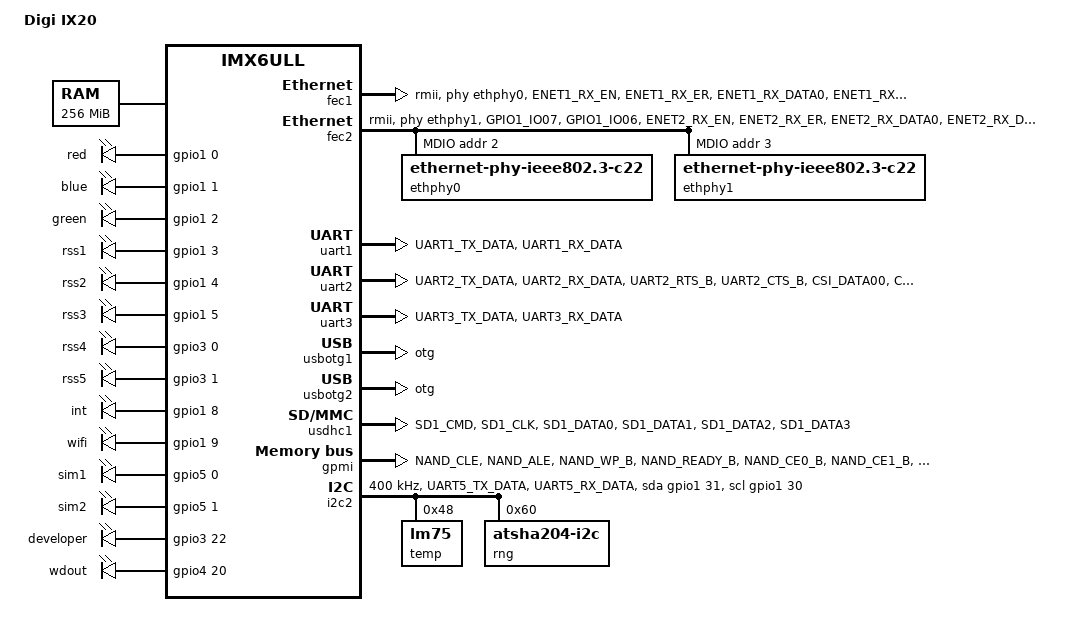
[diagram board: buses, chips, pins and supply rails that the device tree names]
/*
 * Copyright (C) 2016 Freescale Semiconductor, Inc.
 * Copyright (C) 2019 Digi International
 *
 * This program is free software; you can redistribute it and/or modify
 * it under the terms of the GNU General Public License version 2 as
 * published by the Free Software Foundation.
 */

/dts-v1/;

#include "imx6ull.dtsi"

/ {
	model = "Digi IX20";
	compatible = "digi,ix20", "fsl,imx6ull";

	chosen {
		stdout-path = &uart1;
	};

	memory {
		device_type = "memory";
		reg = <0x80000000 0x10000000>;
	};

	cpus {
		cpu0: cpu@0 {
			operating-points = <
                                /* kHz  uV */
                                900000  1275000
				792000	1225000
                                528000  1175000
                                396000  1025000
                                198000  950000
                        >;
                        fsl,soc-operating-points = <
                                /* KHz  uV */
                                900000  1275000
				792000	1175000
                                528000  1175000
                                396000  1175000
                                198000  1175000
                        >;
		};
	};

	regulators {
		compatible = "simple-bus";
		#address-cells = <1>;
		#size-cells = <0>;
	};

	leds {
		compatible = "gpio-leds";

		red-led {
			label = "red";
			pinctrl-names = "default";
			pinctrl-0 = <&pinctrl_leds>;
			gpios = <&gpio1 0 GPIO_ACTIVE_HIGH>;
			linux,default-trigger = "none";
		};

		blue-led {
			label = "blue";
			pinctrl-names = "default";
			pinctrl-0 = <&pinctrl_leds>;
			gpios = <&gpio1 1 GPIO_ACTIVE_HIGH>;
			linux,default-trigger = "none";
		};

		green-led {
			label = "green";
			pinctrl-names = "default";
			pinctrl-0 = <&pinctrl_leds>;
			gpios = <&gpio1 2 GPIO_ACTIVE_HIGH>;
			linux,default-trigger = "none";
		};

		rss1-led {
			label = "rss1";
			pinctrl-names = "default";
			pinctrl-0 = <&pinctrl_leds>;
			gpios = <&gpio1 3 GPIO_ACTIVE_HIGH>;
			linux,default-trigger = "none";
		};

		rss2-led {
			label = "rss2";
			pinctrl-names = "default";
			pinctrl-0 = <&pinctrl_leds>;
			gpios = <&gpio1 4 GPIO_ACTIVE_HIGH>;
			linux,default-trigger = "none";
		};

		rss3-led {
			label = "rss3";
			pinctrl-names = "default";
			pinctrl-0 = <&pinctrl_leds>;
			gpios = <&gpio1 5 GPIO_ACTIVE_HIGH>;
			linux,default-trigger = "none";
		};

		rss4-led {
			label = "rss4";
			pinctrl-names = "default";
			pinctrl-0 = <&pinctrl_leds>;
			gpios = <&gpio3 0 GPIO_ACTIVE_HIGH>;
			linux,default-trigger = "none";
		};

		rss5-led {
			label = "rss5";
			pinctrl-names = "default";
			pinctrl-0 = <&pinctrl_leds>;
			gpios = <&gpio3 1 GPIO_ACTIVE_HIGH>;
			linux,default-trigger = "none";
		};

		int-led {
			label = "int";
			pinctrl-names = "default";
			pinctrl-0 = <&pinctrl_leds>;
			gpios = <&gpio1 8 GPIO_ACTIVE_HIGH>;
			linux,default-trigger = "none";
		};

		wifi-led {
			label = "wifi";
			pinctrl-names = "default";
			pinctrl-0 = <&pinctrl_leds>;
			gpios = <&gpio1 9 GPIO_ACTIVE_HIGH>;
			linux,default-trigger = "none";
		};

		sim1-led {
			label = "sim1";
			pinctrl-names = "default";
			pinctrl-0 = <&pinctrl_leds>;
			gpios = <&gpio5 0 GPIO_ACTIVE_HIGH>;
			linux,default-trigger = "none";
		};

		sim2-led {
			label = "sim2";
			pinctrl-names = "default";
			pinctrl-0 = <&pinctrl_leds>;
			gpios = <&gpio5 1 GPIO_ACTIVE_HIGH>;
			linux,default-trigger = "none";
		};
	};

	devkey {
		compatible = "gpio-leds";

		dev-gpio {
			label = "developer";
			pinctrl-names = "default";
			pinctrl-0 = <&pinctrl_devkey>;
			gpios = <&gpio3 22 GPIO_ACTIVE_HIGH>;
			linux,default-trigger = "none";
		};
	};

	watchdog {
		compatible = "gpio-leds";

		wdout-gpio {
			label = "wdout";
			pinctrl-names = "default";
			pinctrl-0 = <&pinctrl_wdout>;
			gpios = <&gpio4 20 GPIO_ACTIVE_HIGH>;
		};
	};
};

&cpu0 {
	arm-supply = <&reg_arm>;
	soc-supply = <&reg_soc>;
};

&fec1 {
	pinctrl-names = "default";
	pinctrl-0 = <&pinctrl_enet1>;
	phy-mode = "rmii";
	phy-handle = <&ethphy0>;
	status = "okay";
};

&fec2 {
	pinctrl-names = "default";
	pinctrl-0 = <&pinctrl_enet2>;
	phy-mode = "rmii";
	phy-handle = <&ethphy1>;
	status = "okay";

	mdio {
		#address-cells = <1>;
		#size-cells = <0>;

		ethphy0: ethernet-phy@2 {
			compatible = "ethernet-phy-ieee802.3-c22";
			reg = <2>;
		};

		ethphy1: ethernet-phy@3 {
			compatible = "ethernet-phy-ieee802.3-c22";
			reg = <3>;
		};
	};
};

&uart1 {
	pinctrl-names = "default";
	pinctrl-0 = <&pinctrl_uart1>;
	status = "okay";
};

&uart2 {
	pinctrl-names = "default";
	pinctrl-0 = <&pinctrl_uart2>;
	uart-has-rtscts;
	dtr-gpios = <&gpio4 26 GPIO_ACTIVE_LOW>;
	dcd-gpios = <&gpio4 25 GPIO_ACTIVE_LOW>;
	status = "okay";
};

&uart3 {
	pinctrl-names = "default";
	pinctrl-0 = <&pinctrl_uart3>;
	uart-has-rtscts;
	status = "okay";
};

&usbotg1 {
	dr_mode = "otg";
	srp-disable;
	hnp-disable;
	adp-disable;
	status = "okay";
};

&usbotg2 {
	dr_mode = "otg";
	srp-disable;
	hnp-disable;
	adp-disable;
	status = "okay";
};

&usdhc1 {
	pinctrl-names = "default";
	pinctrl-0 = <&pinctrl_usdhc1>;
	status = "okay";
};

&usbphy1 {
	tx-d-cal = <0x5>;
};

&usbphy2 {
	tx-d-cal = <0x5>;
};

&wdog1 {
	pinctrl-names = "default";
	pinctrl-0 = <&pinctrl_wdog>;
	fsl,wdog_b;
};

&gpmi {
	pinctrl-names = "default";
	pinctrl-0 = <&pinctrl_gpmi_nand>;
	status = "okay";
	fsl,legacy-bch-geometry;

	partition@0 {
		label="u-boot";
		reg = <0x00000000 0x00500000>;
	};
	partition@1 {
		label="u-boot-env";
		reg = <0x00500000 0x00100000>;
	};
	partition@2 {
		label="log";
		reg = <0x00600000 0x00200000>;
	};
	partition@3 {
		label="flash";
		reg = <0x00800000 0>;
	};
	partition@4 {
		label="all";
		reg = <0x00000000 0>;
	};
};

&i2c2 {
	clock-frequency = <400000>;
	pinctrl-names = "default", "gpio";
	pinctrl-0 = <&pinctrl_i2c2>;
	pinctrl-1 = <&pinctrl_i2c2_gpio>;
	scl-gpios = <&gpio1 30 (GPIO_ACTIVE_HIGH | GPIO_OPEN_DRAIN)>;
	sda-gpios = <&gpio1 31 (GPIO_ACTIVE_HIGH | GPIO_OPEN_DRAIN)>;
	status = "okay";

	temp: lm75@48 {
		compatible = "lm75";
		reg = <0x48>;
	};

	rng: atecc508a@60 {
		compatible = "atsha204-i2c";
		reg = <0x60>;
	};
};

&iomuxc {
	pinctrl-names = "default";

	pinctrl_enet1: enet1grp {
		fsl,pins = <
			MX6UL_PAD_ENET1_RX_EN__ENET1_RX_EN	0x1b0b0
			MX6UL_PAD_ENET1_RX_ER__ENET1_RX_ER	0x1b0b0
			MX6UL_PAD_ENET1_RX_DATA0__ENET1_RDATA00	0x1b0b0
			MX6UL_PAD_ENET1_RX_DATA1__ENET1_RDATA01	0x1b0b0
			MX6UL_PAD_ENET1_TX_EN__ENET1_TX_EN	0x1b0b0
			MX6UL_PAD_ENET1_TX_DATA0__ENET1_TDATA00	0x1b0b0
			MX6UL_PAD_ENET1_TX_DATA1__ENET1_TDATA01	0x1b0b0
			MX6UL_PAD_ENET1_TX_CLK__ENET1_REF_CLK1	0x4001b031
		>;
	};

	pinctrl_enet2: enet2grp {
		fsl,pins = <
			MX6UL_PAD_GPIO1_IO07__ENET2_MDC		0x1b0b0
			MX6UL_PAD_GPIO1_IO06__ENET2_MDIO	0x1b0b0
			MX6UL_PAD_ENET2_RX_EN__ENET2_RX_EN	0x1b0b0
			MX6UL_PAD_ENET2_RX_ER__ENET2_RX_ER	0x1b0b0
			MX6UL_PAD_ENET2_RX_DATA0__ENET2_RDATA00	0x1b0b0
			MX6UL_PAD_ENET2_RX_DATA1__ENET2_RDATA01	0x1b0b0
			MX6UL_PAD_ENET2_TX_EN__ENET2_TX_EN	0x1b0b0
			MX6UL_PAD_ENET2_TX_DATA0__ENET2_TDATA00	0x1b0b0
			MX6UL_PAD_ENET2_TX_DATA1__ENET2_TDATA01	0x1b0b0
			MX6UL_PAD_ENET2_TX_CLK__ENET2_REF_CLK2	0x4001b031
		>;
	};

	pinctrl_uart1: uart1grp {
		fsl,pins = <
			MX6UL_PAD_UART1_TX_DATA__UART1_DCE_TX	0x1b0b1
			MX6UL_PAD_UART1_RX_DATA__UART1_DCE_RX	0x1b0b1
		>;
	};

	pinctrl_uart2: uart2grp {
		fsl,pins = <
			MX6UL_PAD_UART2_TX_DATA__UART2_DCE_TX	0x1b0b1
			MX6UL_PAD_UART2_RX_DATA__UART2_DCE_RX	0x1b0b1
			MX6UL_PAD_UART2_RTS_B__UART2_DCE_RTS	0x1b0b1
			MX6UL_PAD_UART2_CTS_B__UART2_DCE_CTS	0x1b0b1
			MX6UL_PAD_CSI_DATA00__GPIO4_IO21	0x1b0b1
			MX6UL_PAD_CSI_DATA01__GPIO4_IO22	0x1b0b1
		>;
	};

	pinctrl_uart3: uart3grp {
		fsl,pins = <
			MX6UL_PAD_UART3_TX_DATA__UART3_DCE_TX	0x1b0b1
			MX6UL_PAD_UART3_RX_DATA__UART3_DCE_RX	0x1b0b1
		>;
	};

	pinctrl_wdog: wdoggrp {
		fsl,pins = <
			MX6UL_PAD_LCD_RESET__WDOG1_WDOG_ANY    0x30b0
		>;
	};

	pinctrl_gpmi_nand: gpmi-nand-1 {
		fsl,pins = <
			MX6UL_PAD_NAND_CLE__RAWNAND_CLE         0xb0b1
			MX6UL_PAD_NAND_ALE__RAWNAND_ALE         0xb0b1
			MX6UL_PAD_NAND_WP_B__RAWNAND_WP_B       0xb0b1
			MX6UL_PAD_NAND_READY_B__RAWNAND_READY_B 0xb000
			MX6UL_PAD_NAND_CE0_B__RAWNAND_CE0_B     0xb0b1
			MX6UL_PAD_NAND_CE1_B__RAWNAND_CE1_B     0xb0b1
			MX6UL_PAD_NAND_RE_B__RAWNAND_RE_B       0xb0b1
			MX6UL_PAD_NAND_WE_B__RAWNAND_WE_B       0xb0b1
			MX6UL_PAD_NAND_DATA00__RAWNAND_DATA00   0xb0b1
			MX6UL_PAD_NAND_DATA01__RAWNAND_DATA01   0xb0b1
			MX6UL_PAD_NAND_DATA02__RAWNAND_DATA02   0xb0b1
			MX6UL_PAD_NAND_DATA03__RAWNAND_DATA03   0xb0b1
			MX6UL_PAD_NAND_DATA04__RAWNAND_DATA04   0xb0b1
			MX6UL_PAD_NAND_DATA05__RAWNAND_DATA05   0xb0b1
			MX6UL_PAD_NAND_DATA06__RAWNAND_DATA06   0xb0b1
			MX6UL_PAD_NAND_DATA07__RAWNAND_DATA07   0xb0b1
		>;
	};

	pinctrl_leds: ledsgrp {
		fsl,pins = <
			MX6UL_PAD_GPIO1_IO00__GPIO1_IO00	0x00010
			MX6UL_PAD_GPIO1_IO01__GPIO1_IO01	0x00010
			MX6UL_PAD_GPIO1_IO02__GPIO1_IO02	0x00010
			MX6UL_PAD_GPIO1_IO03__GPIO1_IO03	0x00010
			MX6UL_PAD_GPIO1_IO04__GPIO1_IO04	0x00010
			MX6UL_PAD_GPIO1_IO05__GPIO1_IO05	0x00010
			MX6UL_PAD_LCD_CLK__GPIO3_IO00		0x00010
			MX6UL_PAD_LCD_ENABLE__GPIO3_IO01	0x00010
			MX6UL_PAD_GPIO1_IO08__GPIO1_IO08	0x00010
			MX6UL_PAD_GPIO1_IO09__GPIO1_IO09	0x00010
			MX6UL_PAD_SNVS_TAMPER0__GPIO5_IO00	0x00010
			MX6UL_PAD_SNVS_TAMPER1__GPIO5_IO01	0x00010
			MX6UL_PAD_CSI_VSYNC__GPIO4_IO19		0x00000
			MX6UL_PAD_CSI_DATA01__GPIO4_IO22	0x00000
		>;
	};

	pinctrl_i2c2: i2c2grp {
		fsl,pins = <
			MX6UL_PAD_UART5_TX_DATA__I2C2_SCL	0x4001b8b0
			MX6UL_PAD_UART5_RX_DATA__I2C2_SDA	0x4001b8b0
		>;
	};

	pinctrl_i2c2_gpio: i2c2gpiogrp {
		fsl,pins = <
			MX6UL_PAD_UART5_TX_DATA__GPIO1_IO30	0x4001b8b0
			MX6UL_PAD_UART5_RX_DATA__GPIO1_IO31	0x4001b8b0
		>;
	};

	pinctrl_devkey: devkeygrp {
		fsl,pins = <
			MX6UL_PAD_LCD_DATA17__GPIO3_IO22	0x00000
		>;
	};

	pinctrl_wdout: extwdoggrp {
		fsl,pins = <
			MX6UL_PAD_CSI_HSYNC__GPIO4_IO20		0x00010
		>;
	};

	pinctrl_usdhc1: usdhc1grp {
		fsl,pins = <
			MX6UL_PAD_SD1_CMD__USDHC1_CMD           0x17059
			MX6UL_PAD_SD1_CLK__USDHC1_CLK           0x17051
			MX6UL_PAD_SD1_DATA0__USDHC1_DATA0       0x17059
			MX6UL_PAD_SD1_DATA1__USDHC1_DATA1       0x17059
			MX6UL_PAD_SD1_DATA2__USDHC1_DATA2       0x17059
			MX6UL_PAD_SD1_DATA3__USDHC1_DATA3       0x17059
		>;
	};
};

